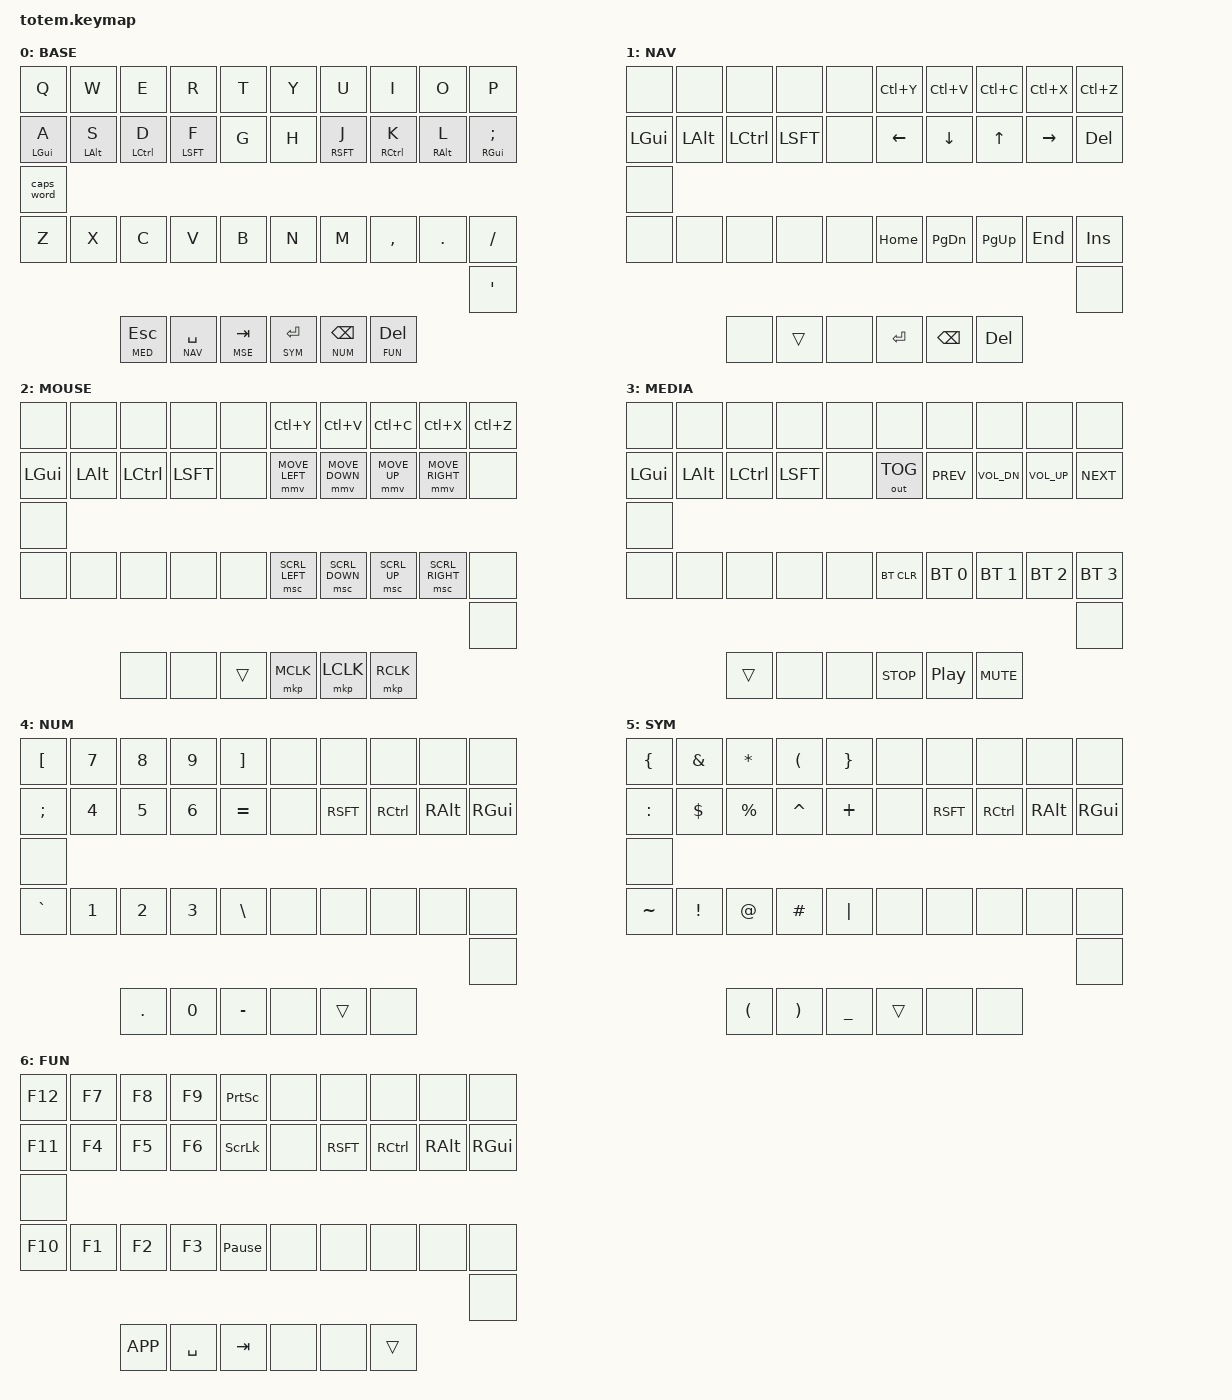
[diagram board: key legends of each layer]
// SPDX-License-Identifier: MIT
// Totem 38-key split — standalone Miryoku-style keymap
// Customizations vs stock Miryoku:
//   • Home row mods: balanced flavor, 300 ms tapping term, 150 ms require-prior-idle
//   • Right home row col 5 (position 19): semicolon (was quote)
//   • Left outer pinky  (position 20): caps_word toggle
//   • Right outer pinky (position 31): single quote
//   • NAV layer home row: vim arrows (H=←  J=↓  K=↑  L=→)
//
// 38-key binding order (matches totem_dongle.overlay matrix transform):
//   0-9  : top  row   Q  W  E  R  T  |  Y  U  I  O  P
//  10-19  : home row  A  S  D  F  G  |  H  J  K  L  ;
//     20  : left outer pinky
//  21-30  : bottom    Z  X  C  V  B  |  N  M  ,  .  /
//     31  : right outer pinky
//  32-34  : left  thumbs  ESC  SPC  TAB
//  35-37  : right thumbs  ENT  BSPC DEL

#include <behaviors.dtsi>
#include <dt-bindings/zmk/keys.h>
#include <dt-bindings/zmk/bt.h>
#include <dt-bindings/zmk/outputs.h>
#include <dt-bindings/zmk/pointing.h>

#define BASE 0
#define NAV  1
#define MSE  2
#define MED  3
#define NUM  4
#define SYM  5
#define FUN  6

/ {
    behaviors {
        // Home-row mod: balanced flavor so holding after a fast tap resolves to
        // the tap keysym rather than the modifier.  require-prior-idle-ms keeps
        // the mod from firing mid-burst (fixes the accidental LGUI+S / Save-As).
        hm: homerow_mods {
            compatible = "zmk,behavior-hold-tap";
            #binding-cells = <2>;
            tapping-term-ms = <300>;
            quick-tap-ms = <175>;
            require-prior-idle-ms = <150>;
            flavor = "balanced";
            bindings = <&kp>, <&kp>;
        };
    };

    keymap {
        compatible = "zmk,keymap";

        // ── 0: BASE ──────────────────────────────────────────────────────────
        base_layer {
            display-name = "BASE";
            bindings = <
// ╭────────────┬────────────┬────────────┬────────────┬────────────╮   ╭────────────┬────────────┬────────────┬────────────┬────────────╮
    &kp Q        &kp W        &kp E        &kp R        &kp T             &kp Y        &kp U        &kp I        &kp O        &kp P
// ├────────────┼────────────┼────────────┼────────────┼────────────┤   ├────────────┼────────────┼────────────┼────────────┼────────────┤
    &hm LGUI A   &hm LALT S   &hm LCTRL D  &hm LSFT F   &kp G             &kp H        &hm RSFT J   &hm RCTRL K  &hm RALT L   &hm RGUI SEMI
// ├────────────┼────────────┼────────────┼────────────┼────────────┤   ├────────────┼────────────┼────────────┼────────────┼────────────┤
    &caps_word
    &kp Z        &kp X        &kp C        &kp V        &kp B             &kp N        &kp M        &kp COMMA    &kp DOT      &kp FSLH
                                                                                                                               &kp SQT
// ╰────────────┴────────────┴────────────┼────────────┼────────────┤   ├────────────┼────────────┼────────────┴────────────┴────────────╯
                              &lt MED ESC  &lt NAV SPACE &lt MSE TAB       &lt SYM RET  &lt NUM BSPC &lt FUN DEL
//                            ╰────────────┴────────────┴────────────╯   ╰────────────┴────────────┴────────────╯
            >;
        };

        // ── 1: NAV ───────────────────────────────────────────────────────────
        // Activated by: hold SPC (left middle thumb)
        // Right hand: vim arrows on home row, clipboard on top, page nav on bottom
        // Left hand: bare modifiers for shift-select, ctrl-arrow word-jump, etc.
        nav_layer {
            display-name = "NAV";
            bindings = <
// ╭────────────┬────────────┬────────────┬────────────┬────────────╮   ╭────────────┬────────────┬────────────┬────────────┬────────────╮
    &none        &none        &none        &none        &none             &kp LC(Y)    &kp LC(V)    &kp LC(C)    &kp LC(X)    &kp LC(Z)
// ├────────────┼────────────┼────────────┼────────────┼────────────┤   ├────────────┼────────────┼────────────┼────────────┼────────────┤
    &kp LGUI     &kp LALT     &kp LCTRL    &kp LSFT     &none             &kp LEFT     &kp DOWN     &kp UP       &kp RIGHT    &kp DEL
// ├────────────┼────────────┼────────────┼────────────┼────────────┤   ├────────────┼────────────┼────────────┼────────────┼────────────┤
    &none
    &none        &none        &none        &none        &none             &kp HOME     &kp PG_DN    &kp PG_UP    &kp END      &kp INS
                                                                                                                               &none
// ╰────────────┴────────────┴────────────┼────────────┼────────────┤   ├────────────┼────────────┼────────────┴────────────┴────────────╯
                              &none        &trans        &none             &kp RET      &kp BSPC     &kp DEL
//                            ╰────────────┴────────────┴────────────╯   ╰────────────┴────────────┴────────────╯
            >;
        };

        // ── 2: MOUSE ─────────────────────────────────────────────────────────
        // Activated by: hold TAB (left ring thumb)
        // Right hand: mouse cursor on home row, scroll wheel on bottom row
        mouse_layer {
            display-name = "MOUSE";
            bindings = <
// ╭────────────┬────────────┬────────────┬────────────┬────────────╮   ╭────────────┬────────────┬────────────┬────────────┬────────────╮
    &none        &none        &none        &none        &none             &kp LC(Y)    &kp LC(V)    &kp LC(C)    &kp LC(X)    &kp LC(Z)
// ├────────────┼────────────┼────────────┼────────────┼────────────┤   ├────────────┼────────────┼────────────┼────────────┼────────────┤
    &kp LGUI     &kp LALT     &kp LCTRL    &kp LSFT     &none             &mmv MOVE_LEFT &mmv MOVE_DOWN &mmv MOVE_UP &mmv MOVE_RIGHT &none
// ├────────────┼────────────┼────────────┼────────────┼────────────┤   ├────────────┼────────────┼────────────┼────────────┼────────────┤
    &none
    &none        &none        &none        &none        &none             &msc SCRL_LEFT &msc SCRL_DOWN &msc SCRL_UP &msc SCRL_RIGHT &none
                                                                                                                               &none
// ╰────────────┴────────────┴────────────┼────────────┼────────────┤   ├────────────┼────────────┼────────────┴────────────┴────────────╯
                              &none        &none         &trans            &mkp MCLK    &mkp LCLK    &mkp RCLK
//                            ╰────────────┴────────────┴────────────╯   ╰────────────┴────────────┴────────────╯
            >;
        };

        // ── 3: MEDIA ─────────────────────────────────────────────────────────
        // Activated by: hold ESC (left index thumb)
        // Right hand: media controls; Bluetooth / USB output selection on bottom
        media_layer {
            display-name = "MEDIA";
            bindings = <
// ╭────────────┬────────────┬────────────┬────────────┬────────────╮   ╭────────────┬────────────┬────────────┬────────────┬────────────╮
    &none        &none        &none        &none        &none             &none        &none        &none        &none        &none
// ├────────────┼────────────┼────────────┼────────────┼────────────┤   ├────────────┼────────────┼────────────┼────────────┼────────────┤
    &kp LGUI     &kp LALT     &kp LCTRL    &kp LSFT     &none             &out OUT_TOG &kp C_PREV   &kp C_VOL_DN &kp C_VOL_UP &kp C_NEXT
// ├────────────┼────────────┼────────────┼────────────┼────────────┤   ├────────────┼────────────┼────────────┼────────────┼────────────┤
    &none
    &none        &none        &none        &none        &none             &bt BT_CLR   &bt BT_SEL 0 &bt BT_SEL 1 &bt BT_SEL 2 &bt BT_SEL 3
                                                                                                                               &none
// ╰────────────┴────────────┴────────────┼────────────┼────────────┤   ├────────────┼────────────┼────────────┴────────────┴────────────╯
                              &trans        &none        &none             &kp C_STOP   &kp C_PP     &kp C_MUTE
//                            ╰────────────┴────────────┴────────────╯   ╰────────────┴────────────┴────────────╯
            >;
        };

        // ── 4: NUM ───────────────────────────────────────────────────────────
        // Activated by: hold BSPC (right middle thumb)
        // Left hand: numpad layout + brackets; right hand: mirror mods
        num_layer {
            display-name = "NUM";
            bindings = <
// ╭────────────┬────────────┬────────────┬────────────┬────────────╮   ╭────────────┬────────────┬────────────┬────────────┬────────────╮
    &kp LBKT     &kp N7       &kp N8       &kp N9       &kp RBKT          &none        &none        &none        &none        &none
// ├────────────┼────────────┼────────────┼────────────┼────────────┤   ├────────────┼────────────┼────────────┼────────────┼────────────┤
    &kp SEMI     &kp N4       &kp N5       &kp N6       &kp EQUAL         &none        &kp RSFT     &kp RCTRL    &kp RALT     &kp RGUI
// ├────────────┼────────────┼────────────┼────────────┼────────────┤   ├────────────┼────────────┼────────────┼────────────┼────────────┤
    &none
    &kp GRAVE    &kp N1       &kp N2       &kp N3       &kp BSLH          &none        &none        &none        &none        &none
                                                                                                                               &none
// ╰────────────┴────────────┴────────────┼────────────┼────────────┤   ├────────────┼────────────┼────────────┴────────────┴────────────╯
                              &kp DOT      &kp N0        &kp MINUS         &none        &trans       &none
//                            ╰────────────┴────────────┴────────────╯   ╰────────────┴────────────┴────────────╯
            >;
        };

        // ── 5: SYM ───────────────────────────────────────────────────────────
        // Activated by: hold ENT (right index thumb)
        // Left hand: shifted symbol versions of the NUM layer
        sym_layer {
            display-name = "SYM";
            bindings = <
// ╭────────────┬────────────┬────────────┬────────────┬────────────╮   ╭────────────┬────────────┬────────────┬────────────┬────────────╮
    &kp LBRC     &kp AMPS     &kp STAR     &kp LPAR     &kp RBRC          &none        &none        &none        &none        &none
// ├────────────┼────────────┼────────────┼────────────┼────────────┤   ├────────────┼────────────┼────────────┼────────────┼────────────┤
    &kp COLN     &kp DLLR     &kp PRCNT    &kp CARET    &kp PLUS          &none        &kp RSFT     &kp RCTRL    &kp RALT     &kp RGUI
// ├────────────┼────────────┼────────────┼────────────┼────────────┤   ├────────────┼────────────┼────────────┼────────────┼────────────┤
    &none
    &kp TILDE    &kp EXCL     &kp AT       &kp HASH     &kp PIPE          &none        &none        &none        &none        &none
                                                                                                                               &none
// ╰────────────┴────────────┴────────────┼────────────┼────────────┤   ├────────────┼────────────┼────────────┴────────────┴────────────╯
                              &kp LPAR     &kp RPAR      &kp UNDER         &trans       &none        &none
//                            ╰────────────┴────────────┴────────────╯   ╰────────────┴────────────┴────────────╯
            >;
        };

        // ── 6: FUN ───────────────────────────────────────────────────────────
        // Activated by: hold DEL (right pinky thumb)
        // Left hand: function keys in numpad layout
        fun_layer {
            display-name = "FUN";
            bindings = <
// ╭────────────┬────────────┬────────────┬────────────┬────────────╮   ╭────────────┬────────────┬────────────┬────────────┬────────────╮
    &kp F12      &kp F7       &kp F8       &kp F9       &kp PSCRN         &none        &none        &none        &none        &none
// ├────────────┼────────────┼────────────┼────────────┼────────────┤   ├────────────┼────────────┼────────────┼────────────┼────────────┤
    &kp F11      &kp F4       &kp F5       &kp F6       &kp SLCK          &none        &kp RSFT     &kp RCTRL    &kp RALT     &kp RGUI
// ├────────────┼────────────┼────────────┼────────────┼────────────┤   ├────────────┼────────────┼────────────┼────────────┼────────────┤
    &none
    &kp F10      &kp F1       &kp F2       &kp F3       &kp PAUSE_BREAK   &none        &none        &none        &none        &none
                                                                                                                               &none
// ╰────────────┴────────────┴────────────┼────────────┼────────────┤   ├────────────┼────────────┼────────────┴────────────┴────────────╯
                              &kp K_APP    &kp SPACE     &kp TAB           &none        &none        &trans
//                            ╰────────────┴────────────┴────────────╯   ╰────────────┴────────────┴────────────╯
            >;
        };
    };
};
